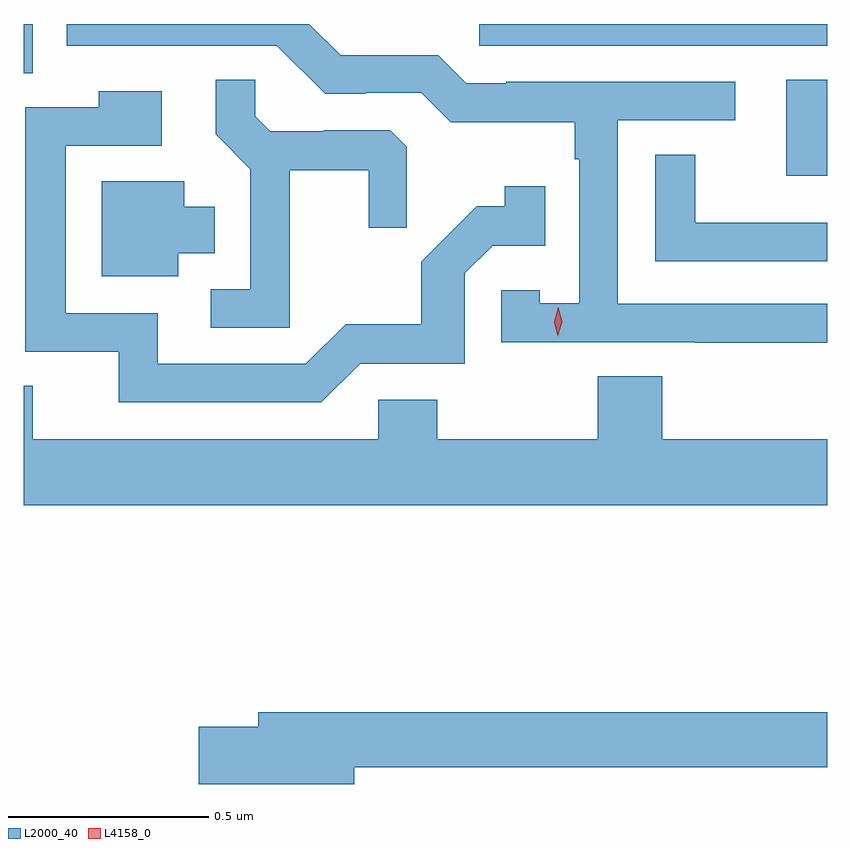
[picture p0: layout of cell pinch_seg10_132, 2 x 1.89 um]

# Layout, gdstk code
import gdstk
lib = gdstk.Library(unit=1e-6, precision=1e-09)
def R(c, l, rs):  # rectangles x0, y0, x1, y1
    for r in rs: c.add(gdstk.rectangle(r[:2], r[2:], *l))
def P(c, l, *ps):  # polygons
    for p in ps: c.add(gdstk.Polygon(p, *l))
L2000_40 = (2000, 40)
L4158_0 = (4158, 0)

pinch_seg10_132 = lib.new_cell('pinch_seg10_132')
R(pinch_seg10_132, L2000_40, [(732.455,1281.156,732.557,1281.395), (730.557,1281.412,730.579,1281.534), (731.691,1281.48,732.557,1281.534)])
P(pinch_seg10_132, L2000_40, [(732.557,1280.838),(732.036,1280.838),(732.036,1281.294),(732.328,1281.294),(732.328,1281.39),(731.758,1281.39),(731.758,1281.387),(731.658,1281.387),(731.589,1281.456),(731.346,1281.456),(731.268,1281.534),(730.664,1281.534),(730.664,1281.48),(731.187,1281.48),(731.307,1281.36),(731.408,1281.36),(731.408,1281.363),(731.547,1281.363),(731.62,1281.29),(731.928,1281.29),(731.928,1281.197),(731.94,1281.197),(731.94,1280.839),(731.841,1280.839),(731.841,1280.871),(731.745,1280.871),(731.745,1280.742),(732.229,1280.742),(732.229,1280.74),(732.557,1280.74)],
  [(731.219,1281.17),(731.416,1281.17),(731.416,1281.027),(731.51,1281.027),(731.51,1281.229),(731.469,1281.27),(731.304,1281.27),(731.304,1281.267),(731.17,1281.267),(731.133,1281.304),(731.133,1281.395),(731.035,1281.395),(731.035,1281.259),(731.121,1281.173),(731.121,1280.874),(731.022,1280.874),(731.022,1280.778),(731.219,1280.778)],
  [(731.394,1280.688),(731.655,1280.688),(731.655,1280.913),(731.724,1280.982),(731.855,1280.982),(731.855,1281.13),(731.754,1281.13),(731.754,1281.08),(731.684,1281.08),(731.547,1280.942),(731.547,1280.787),(731.358,1280.787),(731.259,1280.688),(730.891,1280.688),(730.891,1280.814),(730.662,1280.814),(730.662,1281.231),(730.9,1281.231),(730.9,1281.367),(730.744,1281.367),(730.744,1281.327),(730.561,1281.327),(730.561,1280.718),(730.793,1280.718),(730.793,1280.592),(731.298,1280.592)],
  [(732.557,1281.039),(732.228,1281.039),(732.228,1281.209),(732.129,1281.209),(732.129,1280.943),(732.557,1280.943)],
  [(730.942,1280.963),(731.032,1280.963),(731.032,1281.079),(730.957,1281.079),(730.957,1281.142),(730.751,1281.142),(730.751,1280.906),(730.942,1280.906)],
  [(732.557,1280.5),(732.146,1280.5),(732.146,1280.657),(731.986,1280.657),(731.986,1280.5),(731.586,1280.5),(731.586,1280.598),(731.439,1280.598),(731.439,1280.5),(730.579,1280.5),(730.579,1280.633),(730.557,1280.633),(730.557,1280.336),(732.557,1280.336)],
  [(731.38,1279.684),(732.557,1279.684),(732.557,1279.82),(731.141,1279.82),(731.141,1279.784),(730.992,1279.784),(730.992,1279.642),(731.38,1279.642)])
P(pinch_seg10_132, L4158_0, [(731.886,1280.757),(731.886,1280.757),(731.877,1280.793),(731.888,1280.829),(731.888,1280.829),(731.888,1280.829),(731.897,1280.793),(731.886,1280.757)])

lib.write_gds('pinch_seg10_132.gds')
